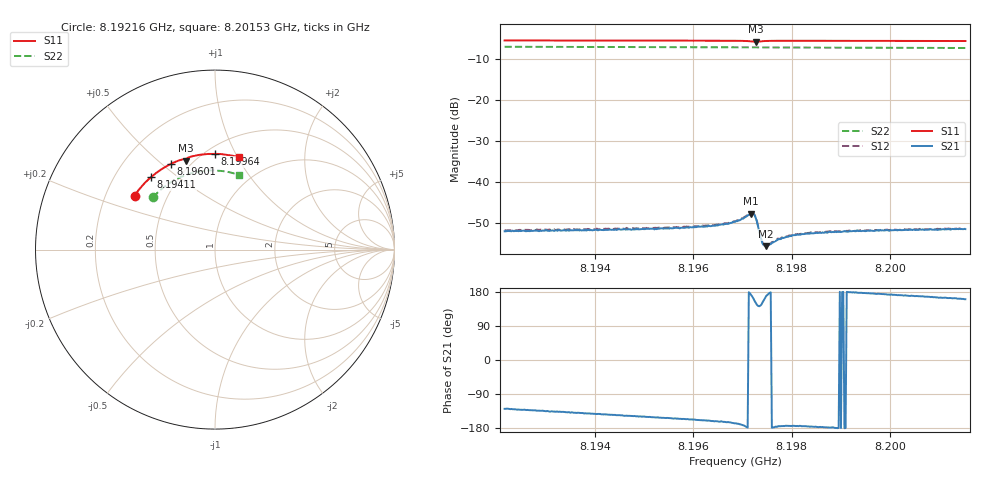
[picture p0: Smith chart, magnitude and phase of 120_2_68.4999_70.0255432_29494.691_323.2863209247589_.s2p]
#  HZ  S  RI  R  50.00
! Rohde & Schwarz Vector Network Analyzer
! Rohde-Schwarz,ZNB20-2Port,1311601062101988,3.16
! Created: UTC 3/20/2024, 4:53:56 PM
! freq[Hz]  re:S11  im:S11  re:S21  im:S21  re:S12  im:S12  re:S22  im:S22
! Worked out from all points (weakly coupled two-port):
!   401 points, 8.19216 GHz to 8.20153 GHz, reference 50 ohm
!   highest |S21| = -47.85 dB at 8.19718 GHz (marker M1); lowest = -55.8 dB at 8.19748 GHz (marker M2)
!   lowest |S11| = -5.7 dB at 8.19727 GHz (marker M3), VSWR 3.18, Z = 22.9 + j31.1 ohm
!   |S11| at or under -10 dB: nowhere
!   |S22| runs from -7.2 to -6.9 dB; largest |S21 - S12| = 0.00022
!   S11 on the Smith chart (normalised r, x): 8.19216 GHz: 0.32, +0.27; 8.19411 GHz: 0.35, +0.40; 8.19601 GHz: 0.40, +0.54; 8.19964 GHz: 0.56, +0.83; 8.20153 GHz: 0.70, +1.01
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8.192165e9  -0.4485 0.3008  -0.00155 -0.00192  -0.00163 -0.00193  -0.3455 0.2914
8.193734e9  -0.3773 0.385  -0.00193 -0.00162  -0.00204 -0.00164  -0.2815 0.3507
8.194108e9  -0.3576 0.4027  -0.00205 -0.00157  -0.00211 -0.00153  -0.2648 0.3629
8.195303e9  -0.2899 0.453  -0.00234 -0.00124  -0.00246 -0.0012  -0.2072 0.3966
8.196006e9  -0.2462 0.4774  -0.00255 -0.00107  -0.00263 -0.000967  -0.1711 0.4122
8.196451e9  -0.2172 0.4906  -0.00274 -0.000926  -0.00285 -0.000849  -0.1476 0.4204
8.196849e9  -0.189 0.5007  -0.00314 -0.000715  -0.00323 -0.000632  -0.1259 0.4267
8.197177e9  -0.1619 0.5011  -0.00401 0.000575  -0.00407 0.00072  -0.108 0.4307
8.197223e9  -0.1598 0.4982  -0.00383 0.00124  -0.00383 0.00142  -0.1054 0.4313
8.19727e9  -0.1607 0.4957  -0.00314 0.00176  -0.0031 0.00192  -0.103 0.4317
8.197294e9  -0.1618 0.4958  -0.0027 0.00183  -0.00268 0.00199  -0.1018 0.4321
8.197387e9  -0.1624 0.5025  -0.0016 0.00106  -0.00161 0.00112  -0.0968 0.4333
8.197434e9  -0.1598 0.506  -0.00154 0.000631  -0.00158 0.000691  -0.0942 0.4337
8.197481e9  -0.1564 0.5087  -0.00159 0.00032  -0.00159 0.000403  -0.0915 0.4343
8.197528e9  -0.1528 0.5108  -0.00165 0.00016  -0.0017 0.000234  -0.089 0.4347
8.197692e9  -0.1404 0.516  -0.0019 -0.000123  -0.00192 -6.88e-05  -0.0799 0.4361
8.197856e9  -0.1283 0.5195  -0.00206 -0.000204  -0.0021 -0.000133  -0.0705 0.4376
8.198067e9  -0.113 0.5231  -0.0022 -0.000229  -0.00224 -0.000136  -0.0588 0.439
8.198418e9  -0.0879 0.5277  -0.00232 -0.000171  -0.0024 -5.92e-05  -0.0391 0.4405
8.199636e9  -0.00162 0.5337  -0.0025 0.000199  -0.00251 0.000327  0.0299 0.439
8.199987e9  0.0234 0.5328  -0.00248 0.00032  -0.00253 0.000419  0.0497 0.4365
8.201533e9  0.1311 0.5151  -0.00247 0.000883  -0.00247 0.000987  0.1348 0.4151
